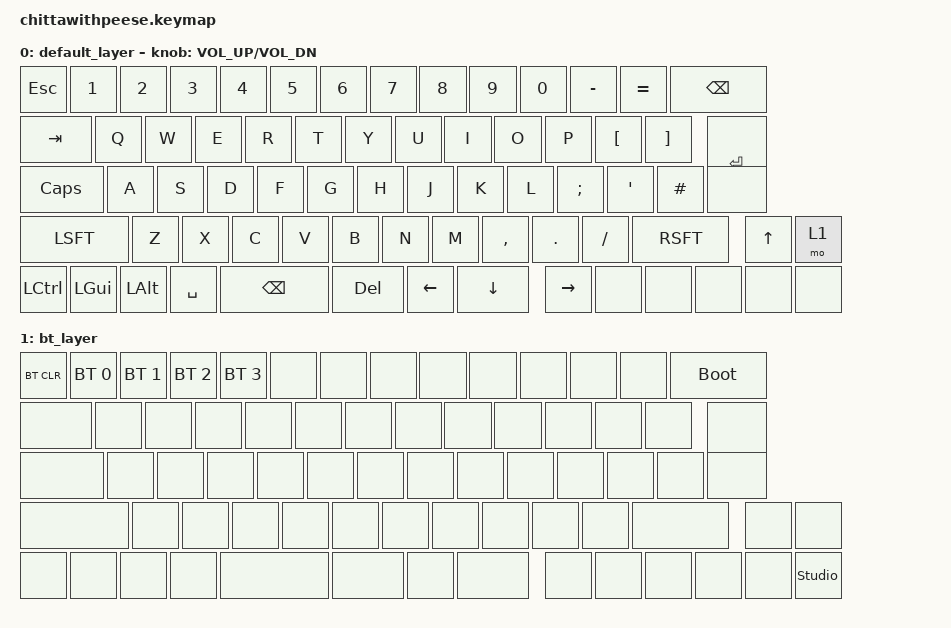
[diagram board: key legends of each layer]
#include <behaviors.dtsi>
#include <dt-bindings/zmk/keys.h>
#include <dt-bindings/zmk/bt.h>

/ {
    keymap {
        compatible = "zmk,keymap";

        default_layer {
            // Exactly 14 keys per row
            bindings = <
&kp ESC   &kp N1   &kp N2   &kp N3   &kp N4   &kp N5   &kp N6   &kp N7   &kp N8   &kp N9   &kp N0   &kp MINUS &kp EQUAL &kp BSPC
&kp TAB   &kp Q    &kp W    &kp E    &kp R    &kp T    &kp Y    &kp U    &kp I    &kp O    &kp P    &kp LBKT  &kp RBKT  &kp RET
&kp CLCK  &kp A    &kp S    &kp D    &kp F    &kp G    &kp H    &kp J    &kp K    &kp L    &kp SEMI &kp SQT   &kp HASH  &none
&kp LSFT  &kp Z    &kp X    &kp C    &kp V    &kp B    &kp N    &kp M    &kp COMMA &kp DOT &kp FSLH &kp RSFT &kp UP    &mo 1
&kp LCTL  &kp LGUI &kp LALT &kp SPACE &kp BSPC &kp DEL &kp LEFT &kp DOWN &kp RIGHT &none  &none    &none    &none     &none
            >;

            sensor-bindings = <&inc_dec_kp C_VOL_UP C_VOL_DN>;
        };

        bt_layer {
            bindings = <
&bt BT_CLR &bt BT_SEL 0 &bt BT_SEL 1 &bt BT_SEL 2 &bt BT_SEL 3 &none &none &none &none &none &none &none &none &bootloader
&none      &none        &none        &none        &none        &none &none &none &none &none &none &none &none &none
&none      &none        &none        &none        &none        &none &none &none &none &none &none &none &none &none
&none      &none        &none        &none        &none        &none &none &none &none &none &none &none &none &none
&none      &none        &none        &none        &none        &none &none &none &none &none &none &none &none &studio_unlock
            >;
        };
    };
};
